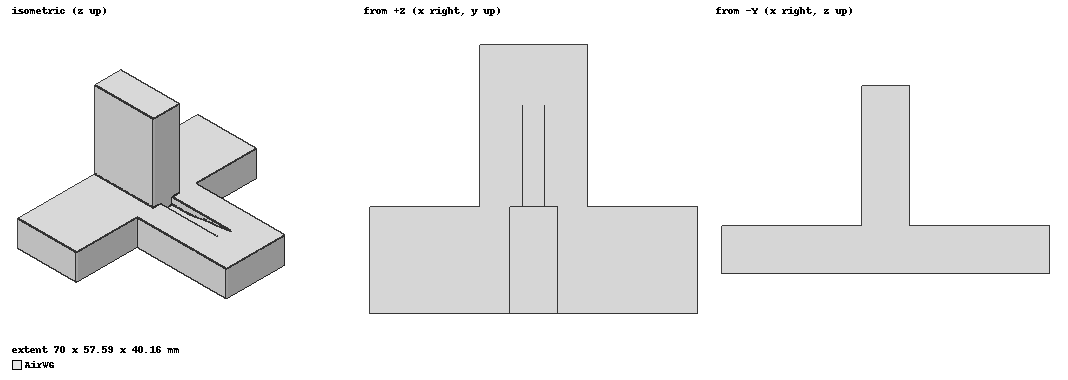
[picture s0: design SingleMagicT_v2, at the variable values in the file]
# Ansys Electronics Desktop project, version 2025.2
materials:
  vacuum: permittivity=1
  pec: conductivity=1e+30

design SingleMagicT_v2 (HFSS, HFSS Modal Network, model units mm)
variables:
  wg_a = 22.86mm
  wg_b = 10.16mm
  ridge_w = 4.572mm
  ridge_g1 = 7.672mm
  ridge_l1 = 9.872mm
  ridge_g2 = 4.984mm
  ridge_l2 = 8.857mm
  terminal_ridge_len = 6mm
  f_adapt = 10.2GHz
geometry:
  AirWG [vacuum] = box(corner=(-35mm, -11.43mm, -5.08mm), size=(70mm, 22.86mm, 10.16mm))
  HArmAir = box(corner=(-11.43mm, 11.43mm, -5.08mm), size=(22.86mm, 34.729mm, 10.16mm))
  EArmAir = box(corner=(-5.08mm, -11.43mm, 5.08mm), size=(10.16mm, 22.86mm, 30mm))
  AirWG.unite(HArmAir, EArmAir)
  RidgeTop_00 = box(corner=(-2.286mm, 35.22255mm, 5.0706835mm), size=(4.572mm, 0.93645mm, 0.0093165213mm))
  RidgeBot_00 = box(corner=(-2.286mm, 35.22255mm, -5.08mm), size=(4.572mm, 0.93645mm, 0.0093165213mm))
  RidgeTop_01 = box(corner=(-2.286mm, 34.2861mm, 5.0021576mm), size=(4.572mm, 0.93645mm, 0.077842395mm))
  RidgeBot_01 = box(corner=(-2.286mm, 34.2861mm, -5.08mm), size=(4.572mm, 0.93645mm, 0.077842395mm))
  RidgeTop_02 = box(corner=(-2.286mm, 33.34965mm, 4.8813115mm), size=(4.572mm, 0.93645mm, 0.19868854mm))
  RidgeBot_02 = box(corner=(-2.286mm, 33.34965mm, -5.08mm), size=(4.572mm, 0.93645mm, 0.19868854mm))
  RidgeTop_03 = box(corner=(-2.286mm, 32.4132mm, 4.7255615mm), size=(4.572mm, 0.93645mm, 0.3544385mm))
  RidgeBot_03 = box(corner=(-2.286mm, 32.4132mm, -5.08mm), size=(4.572mm, 0.93645mm, 0.3544385mm))
  RidgeTop_04 = box(corner=(-2.286mm, 31.47675mm, 4.5515314mm), size=(4.572mm, 0.93645mm, 0.52846861mm))
  RidgeBot_04 = box(corner=(-2.286mm, 31.47675mm, -5.08mm), size=(4.572mm, 0.93645mm, 0.52846861mm))
  RidgeTop_05 = box(corner=(-2.286mm, 30.5403mm, 4.3741972mm), size=(4.572mm, 0.93645mm, 0.70580278mm))
  RidgeBot_05 = box(corner=(-2.286mm, 30.5403mm, -5.08mm), size=(4.572mm, 0.93645mm, 0.70580278mm))
  RidgeTop_06 = box(corner=(-2.286mm, 29.60385mm, 4.2065431mm), size=(4.572mm, 0.93645mm, 0.8734569mm))
  RidgeBot_06 = box(corner=(-2.286mm, 29.60385mm, -5.08mm), size=(4.572mm, 0.93645mm, 0.8734569mm))
  RidgeTop_07 = box(corner=(-2.286mm, 28.6674mm, 4.0596441mm), size=(4.572mm, 0.93645mm, 1.0203559mm))
  RidgeBot_07 = box(corner=(-2.286mm, 28.6674mm, -5.08mm), size=(4.572mm, 0.93645mm, 1.0203559mm))
  RidgeTop_08 = box(corner=(-2.286mm, 27.73095mm, 3.943081mm), size=(4.572mm, 0.93645mm, 1.136919mm))
  RidgeBot_08 = box(corner=(-2.286mm, 27.73095mm, -5.08mm), size=(4.572mm, 0.93645mm, 1.136919mm))
  RidgeTop_09 = box(corner=(-2.286mm, 26.7945mm, 3.8656098mm), size=(4.572mm, 0.93645mm, 1.2143902mm))
  RidgeBot_09 = box(corner=(-2.286mm, 26.7945mm, -5.08mm), size=(4.572mm, 0.93645mm, 1.2143902mm))
  RidgeTop_10 = box(corner=(-2.286mm, 25.85805mm, 3.836051mm), size=(4.572mm, 0.93645mm, 1.243949mm))
  RidgeBot_10 = box(corner=(-2.286mm, 25.85805mm, -5.08mm), size=(4.572mm, 0.93645mm, 1.243949mm))
  RidgeTop_11 = box(corner=(-2.286mm, 24.9216mm, 3.7887987mm), size=(4.572mm, 0.93645mm, 1.2912013mm))
  RidgeBot_11 = box(corner=(-2.286mm, 24.9216mm, -5.08mm), size=(4.572mm, 0.93645mm, 1.2912013mm))
  RidgeTop_12 = box(corner=(-2.286mm, 23.98515mm, 3.6569267mm), size=(4.572mm, 0.93645mm, 1.4230733mm))
  RidgeBot_12 = box(corner=(-2.286mm, 23.98515mm, -5.08mm), size=(4.572mm, 0.93645mm, 1.4230733mm))
  RidgeTop_13 = box(corner=(-2.286mm, 23.0487mm, 3.470313mm), size=(4.572mm, 0.93645mm, 1.609687mm))
  RidgeBot_13 = box(corner=(-2.286mm, 23.0487mm, -5.08mm), size=(4.572mm, 0.93645mm, 1.609687mm))
  RidgeTop_14 = box(corner=(-2.286mm, 22.11225mm, 3.2577343mm), size=(4.572mm, 0.93645mm, 1.8222657mm))
  RidgeBot_14 = box(corner=(-2.286mm, 22.11225mm, -5.08mm), size=(4.572mm, 0.93645mm, 1.8222657mm))
  RidgeTop_15 = box(corner=(-2.286mm, 21.1758mm, 3.0437869mm), size=(4.572mm, 0.93645mm, 2.0362131mm))
  RidgeBot_15 = box(corner=(-2.286mm, 21.1758mm, -5.08mm), size=(4.572mm, 0.93645mm, 2.0362131mm))
  RidgeTop_16 = box(corner=(-2.286mm, 20.23935mm, 2.8478777mm), size=(4.572mm, 0.93645mm, 2.2321223mm))
  RidgeBot_16 = box(corner=(-2.286mm, 20.23935mm, -5.08mm), size=(4.572mm, 0.93645mm, 2.2321223mm))
  RidgeTop_17 = box(corner=(-2.286mm, 19.3029mm, 2.6846885mm), size=(4.572mm, 0.93645mm, 2.3953115mm))
  RidgeBot_17 = box(corner=(-2.286mm, 19.3029mm, -5.08mm), size=(4.572mm, 0.93645mm, 2.3953115mm))
  RidgeTop_18 = box(corner=(-2.286mm, 18.36645mm, 2.5655998mm), size=(4.572mm, 0.93645mm, 2.5144002mm))
  RidgeBot_18 = box(corner=(-2.286mm, 18.36645mm, -5.08mm), size=(4.572mm, 0.93645mm, 2.5144002mm))
  RidgeTop_19 = box(corner=(-2.286mm, 17.43mm, 2.5007097mm), size=(4.572mm, 0.93645mm, 2.5792903mm))
  RidgeBot_19 = box(corner=(-2.286mm, 17.43mm, -5.08mm), size=(4.572mm, 0.93645mm, 2.5792903mm))
  RidgeTop_terminal = box(corner=(-2.286mm, 11.43mm, 2.492mm), size=(4.572mm, 6mm, 2.588mm))
  RidgeBot_terminal = box(corner=(-2.286mm, 11.43mm, -5.08mm), size=(4.572mm, 6mm, 2.588mm))
  AirWG.subtract(RidgeTop_00, RidgeBot_00, RidgeTop_01, RidgeBot_01, RidgeTop_02, RidgeBot_02, RidgeTop_03, RidgeBot_03, RidgeTop_04, RidgeBot_04, RidgeTop_05, RidgeBot_05, RidgeTop_06, RidgeBot_06, RidgeTop_07, RidgeBot_07, RidgeTop_08, RidgeBot_08, RidgeTop_09, RidgeBot_09, RidgeTop_10, RidgeBot_10, RidgeTop_11, RidgeBot_11, RidgeTop_12, RidgeBot_12, RidgeTop_13, RidgeBot_13, RidgeTop_14, RidgeBot_14, RidgeTop_15, RidgeBot_15, RidgeTop_16, RidgeBot_16, RidgeTop_17, RidgeBot_17, RidgeTop_18, RidgeBot_18, RidgeTop_19, RidgeBot_19, RidgeTop_terminal, RidgeBot_terminal)
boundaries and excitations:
  PEC_WaveguideWalls: Perfect E Faces=AirWG.face(-z, +z, at (23.215, 11.43, 0), -y, at (-23.215, 11.43, 0), at (-11.43, 28.7945, 0), at (11.43, 28.7945, 0), at (-5.08, 0, 20.08), at (0, 11.43, 18.786), at (5.08, 0, 20.08), at (-2.286, 23.7945, 3.786), at (0, 36.159, 5.07534)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)
  P1_CollinearMinusX: Wave Port Faces=AirWG.face(-x) WavePortType=Modal NumModes=1 Modes{Mode1{IntLine{(-35, 0, -5.08) -> (-35, 0, 5.08)} CharImp=Zwave}}
  P2_CollinearPlusX: Wave Port Faces=AirWG.face(+x) WavePortType=Modal NumModes=1 Modes{Mode1{IntLine{(35, 0, -5.08) -> (35, 0, 5.08)} CharImp=Zwave}}
  P3_HArm_Ridged: Wave Port Faces=AirWG.face(at (0, 46.159, 0)) WavePortType=Modal NumModes=1 Modes{Mode1{IntLine{(0, 46.159, -5.08) -> (0, 46.159, 5.08)} CharImp=Zwave}}
  P4_EArm: Wave Port Faces=AirWG.face(at (0, 0, 35.08)) WavePortType=Modal NumModes=1 Modes{Mode1{IntLine{(-5.08, 0, 35.08) -> (5.08, 0, 35.08)} CharImp=Zwave}}
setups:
  Setup1: HfssDriven Frequency=10.2GHz MaxDeltaS=0.02 MaximumPasses=8 MinimumPasses=2 MinimumConvergedPasses=1 PercentRefinement=30 BasisOrder=1 PortAccuracy=2 DrivenSolverType="Direct Solver"
    sweep Sweep_9_11p5GHz: 9GHz to 11.5GHz, 101 points; Type=Interpolating InterpTolerance=0.5 InterpMaxSolns=250 InterpUsePortImped=false PassivityErrorTolerance=0.0001
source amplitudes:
  P1_CollinearMinusX:1: 1W 0deg
  P2_CollinearPlusX:1, P3_HArm_Ridged:1, P4_EArm:1: 0W 0deg
